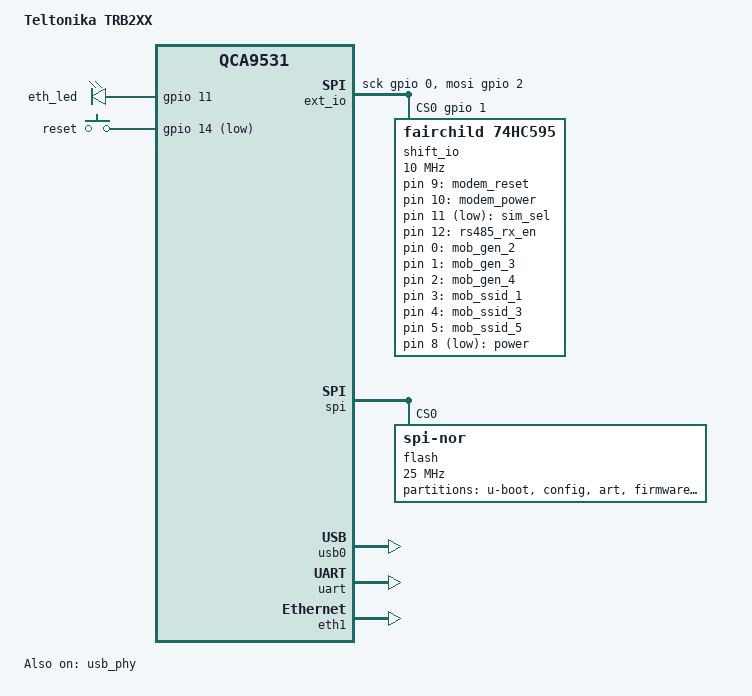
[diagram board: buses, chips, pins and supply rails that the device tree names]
// SPDX-License-Identifier: GPL-2.0-or-later OR MIT
/dts-v1/;

#include <dt-bindings/gpio/gpio.h>
#include <dt-bindings/input/input.h>
#include "qca953x.dtsi"
#include "platform_name.dtsi"

/ {
	compatible = "teltonika,trb2xx", "qca,qca9531";
	model = "Teltonika TRB2XX";

	aliases {
		serial0 = &uart;
	};

	ext_io {
		compatible = "spi-gpio";
		#address-cells = <1>;
		#size-cells = <0>;

		gpio-sck = <&gpio 0 GPIO_ACTIVE_HIGH>;  // SRCLK
		gpio-mosi = <&gpio 2 GPIO_ACTIVE_HIGH>; // SER
		cs-gpios = <&gpio 1 GPIO_ACTIVE_HIGH>;  // RCLK
		num-chipselects = <1>;

		shift_io: shift_io@0 {
			compatible = "fairchild,74hc595";
			reg = <0>;
			gpio-controller;
			#gpio-cells = <2>;
			registers-number = <2>;
			spi-max-frequency = <10000000>;
		};
	};

	gpio-export {
		compatible = "gpio-export";
		#size-cells = <0>;

		gpio_modem_reset {
			gpio-export,name = "modem_reset";
			gpio-export,output = <0>;
			gpios = <&shift_io 9 GPIO_ACTIVE_HIGH>;
		};

		gpio_modem_power {
			gpio-export,name = "modem_power";
			gpio-export,output = <0>;
			gpios = <&shift_io 10 GPIO_ACTIVE_HIGH>;
		};

		gpio_sim_select {
			gpio-export,name = "sim_sel";
			gpio-export,output = <1>;
			gpios = <&shift_io 11 GPIO_ACTIVE_LOW>;
		};

		gpio_force_rs422 {
			gpio-export,name = "rs485_rx_en";
			gpio-export,output = <0>;
			gpios = <&shift_io 12 GPIO_ACTIVE_HIGH>;
		};
	};

	leds {
		compatible = "gpio-leds";

		eth_led {
			label = "eth_led";
			gpios = <&gpio 11 GPIO_ACTIVE_HIGH>;
		};

		led_gen_2 {
			label = "mob_gen_2";
			gpios = <&shift_io 0 GPIO_ACTIVE_HIGH>;
		};

		led_gen_3 {
			label = "mob_gen_3";
			gpios = <&shift_io 1 GPIO_ACTIVE_HIGH>;
		};

		led_gen_4 {
			label = "mob_gen_4";
			gpios = <&shift_io 2 GPIO_ACTIVE_HIGH>;
		};

		led_ssid_1 {
			label = "mob_ssid_1";
			gpios = <&shift_io 3 GPIO_ACTIVE_HIGH>;
			linux,default-trigger = "timer";
		};

		led_ssid_3 {
			label = "mob_ssid_3";
			gpios = <&shift_io 4 GPIO_ACTIVE_HIGH>;
			linux,default-trigger = "timer";
		};

		led_ssid_5 {
			label = "mob_ssid_5";
			gpios = <&shift_io 5 GPIO_ACTIVE_HIGH>;
			linux,default-trigger = "timer";
		};

		led_power {
			label = "power";
			gpios = <&shift_io 8 GPIO_ACTIVE_LOW>;
			default-state = "on";
		};
	};

	keys {
		compatible = "gpio-keys";

		reset {
			label = "reset";
			linux,code = <KEY_RESTART>;
			gpios = <&gpio 14 GPIO_ACTIVE_LOW>;
		};
	};

	tlt_gpios { // Modify according to wiki page "DTS syntax with Libgpiod changes"
		gpiochip_info {
			hw_0 {
				hwver = <0>;
				gpiochip_count = <2>;

				gpiochip_0 = <32>; // Built-in
				gpiochip_1 = <16>; // Shift Register
			};
		};

		ioman {
			GPIO_3 {
				line_name = "GPIO_IN_1";
			};
			GPIO_4 {
				line_name = "GPIO_IN_2";
			};
			GPIO_12 {
				line_name = "GPIO_IN_3";
			};
			GPIO_45 {
				line_name = "GPIO_OUT_1";
			};
			GPIO_46 {
				line_name = "GPIO_OUT_2";
			};
			GPIO_47 {
				line_name = "GPIO_OUT_3";
			};
		};

		ledman {
			GPIO_11 {
				line_name = "LED_ETH_GREEN_1";
			};
			GPIO_40 {
				line_name = "LED_POWER";
				active_low;
			};
			GPIO_32 {
				line_name = "LED_TECH_GEN_2";
			};
			GPIO_33 {
				line_name = "LED_TECH_GEN_3";
			};
			GPIO_34 {
				line_name = "LED_TECH_GEN_4";
			};
			GPIO_35 {
				line_name = "LED_SSID_1";
			};
			GPIO_36 {
				line_name = "LED_SSID_3";
			};
			GPIO_37 {
				line_name = "LED_SSID_5";
			};
		};

		misc {
			GPIO_41 {
				line_name = "GPIO_MODEM_RESET_1";
			};
			GPIO_42 {
				line_name = "GPIO_MODEM_POWER_1";
			};
			GPIO_43 {
				line_name = "GPIO_SIM_SELECT";
				active_low;
			};
			GPIO_44 {
				line_name = "GPIO_RS485_RX_EN";
			};
		};
	};
};

&mnfinfo {
	simpin1 {
		reg = <&config 0x70 0x10>;
		type = "digit";
		default = "";
	};

	simpin2 {
		reg = <&config 0x80 0x10>;
		type = "digit";
		default = "";
	};

	sim_count {
		default =  "2";
	};
};

&spi {
	status = "okay";
	num-cs = <1>;

	flash@0 {
		compatible = "jedec,spi-nor";
		reg = <0>;
		spi-max-frequency = <25000000>;

		partitions {
			compatible = "fixed-partitions";
			#address-cells = <1>;
			#size-cells = <1>;

			boot: partition@0 {
				label = "u-boot";
				reg = <0x000000 0x020000>;
				read-only;
			};

			config: partition@20000 {
				label = "config";
				reg = <0x020000 0x010000>;
				read-only;
			};

			art: partition@30000 {
				label = "art";
				reg = <0x030000 0x010000>;
				read-only;
			};

			partition@40000 {
				label = "firmware";
				reg = <0x040000 0xf30000>;
				compatible = "denx,uimage";
			};

			partition@f70000 {
				label = "event-log";
				reg = <0xf70000 0x090000>;
			};
		};
	};
};

&usb0 {
	#address-cells = <1>;
	#size-cells = <0>;
	status = "okay";

	hub_port0: port@1 {
		reg = <1>;
		#trigger-source-cells = <0>;
	};
};

&usb_phy {
	status = "okay";
};

&uart {
	status = "okay";
};

&eth1 {
	status = "okay";
	mtd-mac-address = <&config 0x0>;
};
